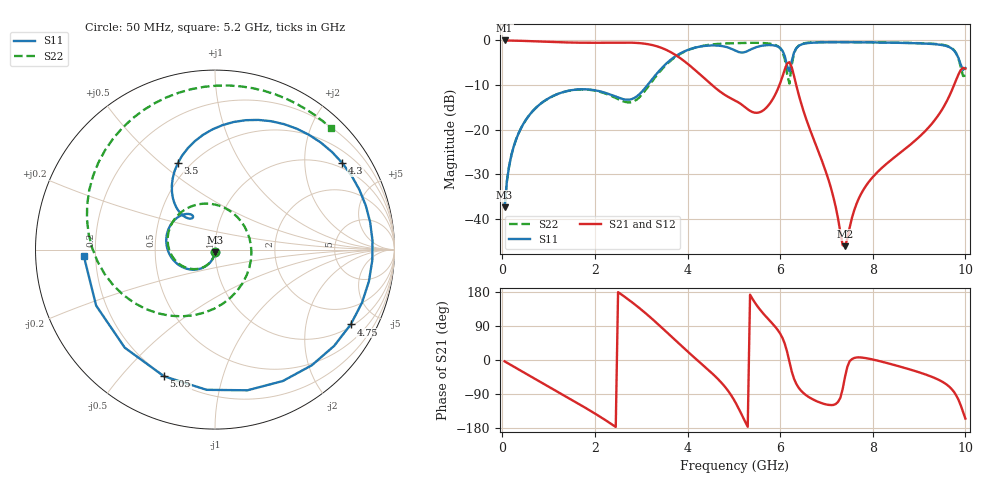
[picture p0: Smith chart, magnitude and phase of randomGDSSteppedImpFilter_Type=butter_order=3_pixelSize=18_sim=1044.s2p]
! freq	dB(S11)	phase(S11)	dB(S12)	phase(S12)
!  dB(S21)	phase(S21)	dB(S22)	phase(S22)
!S-par simulation data
#  GHz  S  DB  R 50
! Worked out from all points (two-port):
!   200 points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, 50 MHz to 10 GHz, reference 50 ohm
!   highest |S21| = -0.01 dB at 50 MHz (marker M1); lowest = -46.2 dB at 7.4 GHz (marker M2)
!   |S21| within 3 dB of the highest: start of sweep to 3.7 GHz
!   lowest |S11| = -37.4 dB at 50 MHz (marker M3), VSWR 1.03, Z = 49.9 - j1.34 ohm
!   |S11| at or under -10 dB: start of sweep to 3.137 GHz
!   |S22| runs from -37.5 to -0.4 dB; largest |S21 - S12| = 0
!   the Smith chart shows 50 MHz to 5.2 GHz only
!   S11 on the Smith chart (normalised r, x): 50 MHz: 1.00, -0.03; 3.5 GHz: 0.43, +0.57; 4.3 GHz: 0.83, +3.04; 4.75 GHz: 1.09, -3.57; 5.05 GHz: 0.20, -0.66; 5.2 GHz: 0.15, -0.02
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0.05  -37.45 -92.6  -0.01 -3.6  -0.01 -3.6  -37.46 -92.8
0.2  -25.59 -103.9  -0.04 -14.2  -0.04 -14.2  -25.59 -104.3
0.5  -17.97 -125.2  -0.12 -35.3  -0.12 -35.3  -17.97 -126.2
1.75  -10.95 153.8  -0.52 -122.9  -0.52 -122.9  -11.00 139.5
2.65  -13.26 124.3  -0.48 166.1  -0.48 166.1  -13.78 27.9
3.4  -6.70 120.6  -1.52 90.3  -1.52 90.3  -7.01 -124.3
3.5  -5.61 113.3  -1.93 79.0  -1.93 79.0  -5.87 -139.5
3.9  -2.60 76.6  -4.41 33.6  -4.41 33.6  -2.70 166.7
4.3  -1.33 34.2  -7.91 -9.9  -7.91 -9.9  -1.28 122.2
4.75  -1.27 -28.9  -11.84 -62.3  -11.84 -62.3  -0.72 80.8
5.05  -2.37 -112.0  -13.61 -115.3  -13.61 -115.3  -0.61 57.1
5.2  -2.71 -177.4  -14.63 -151.8  -14.63 -151.8  -0.57 46.2
5.5  -1.47 80.1  -16.24 143.4  -16.24 143.4  -0.54 24.6
5.9  -1.19 16.2  -12.03 86.7  -12.03 86.7  -1.04 -6.9
6.1  -3.50 -10.3  -6.52 42.9  -6.52 42.9  -4.15 -31.4
6.2  -6.97 8.7  -4.87 -4.8  -4.87 -4.8  -9.69 4.4
6.4  -1.22 4.7  -12.15 -73.3  -12.15 -73.3  -1.18 0.8
6.7  -0.51 -20.0  -21.51 -103.5  -21.51 -103.5  -0.43 -23.9
7.4  -0.40 -55.3  -46.16 -44.8  -46.16 -44.8  -0.36 -58.2
8.35  -0.50 -92.0  -27.22 -9.4  -27.22 -9.4  -0.47 -94.4
9.65  -1.49 -146.7  -12.53 -70.2  -12.53 -70.2  -1.40 -148.5
10  -6.17 -136.1  -6.33 -154.6  -6.33 -154.6  -7.90 -134.4
